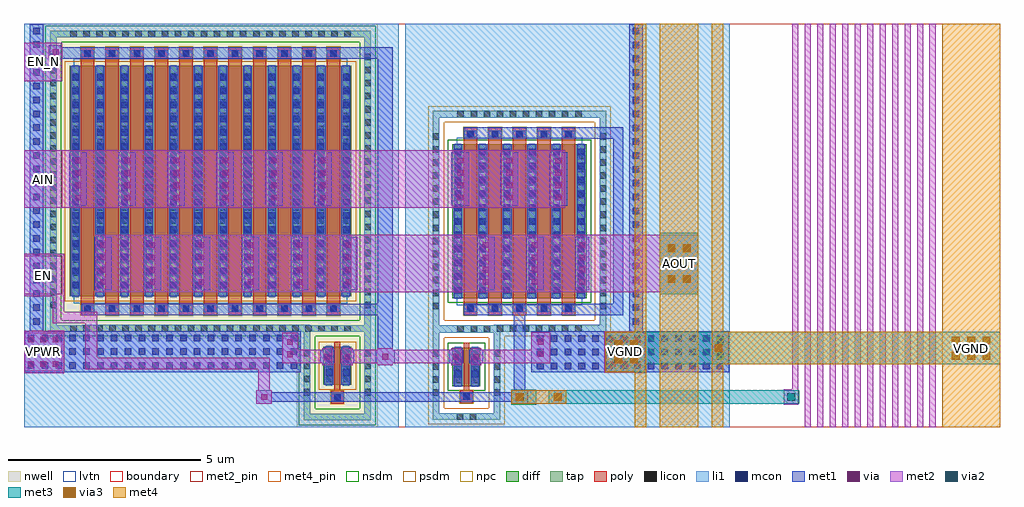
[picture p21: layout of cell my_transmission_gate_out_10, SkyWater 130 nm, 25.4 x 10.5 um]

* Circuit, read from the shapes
.subckt my_transmission_gate_out_10 AIN AOUT EN EN_N VGND VPWR
XM1 VGND EN EN_N VGND sky130_fd_pr__nfet_01v8 w=1 l=0.15
XM2 AOUT EN AIN VGND sky130_fd_pr__nfet_01v8_lvt w=4 l=0.35 m=5
XM3 AOUT EN_N AIN VPWR sky130_fd_pr__pfet_01v8_lvt w=6 l=0.35 m=11
XM4 EN_N EN VPWR VPWR sky130_fd_pr__pfet_01v8 w=1 l=0.15
.ends

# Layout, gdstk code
import gdstk
lib = gdstk.Library(unit=1e-6, precision=1e-09)
def R(c, l, rs):  # rectangles x0, y0, x1, y1
    for r in rs: c.add(gdstk.rectangle(r[:2], r[2:], *l))
def A(c, l, x, y, w, h, nx, ny, dx, dy):  # array of equal rectangles
    R(c, l, [(x+i*dx, y+j*dy, x+i*dx+w, y+j*dy+h) for i in range(nx) for j in range(ny)])
nwell = (64, 20)
diff = (65, 20)
tap = (65, 44)
poly = (66, 20)
licon = (66, 44)
li1 = (67, 20)
mcon = (67, 44)
met1 = (68, 20)
via = (68, 44)
met2_pin = (69, 16)
met2 = (69, 20)
via2 = (69, 44)
met3 = (70, 20)
via3 = (70, 44)
met4_pin = (71, 16)
met4 = (71, 20)
nsdm = (93, 44)
psdm = (94, 20)
npc = (95, 20)
lvtn = (125, 44)
boundary = (235, 4)

sky130_fd_pr__pfet_01v8_ = lib.new_cell('sky130_fd_pr__pfet_01v8_lvt_E3P74E#10tgo')
R(sky130_fd_pr__pfet_01v8_, nwell, [(-4.355,-4.095,4.355,4.095)])
R(sky130_fd_pr__pfet_01v8_, diff, [(-3.665,-3,3.665,3)])
R(sky130_fd_pr__pfet_01v8_, tap, [(-4.175,-3.915,4.175,-3.745), (-4.175,-3.745,-4.005,3.745), (4.005,-3.745,4.175,3.745), (-4.175,3.745,4.175,3.915)])
A(sky130_fd_pr__pfet_01v8_, poly, -3.375, -3.485, 0.35, 6.97, 11, 1, 0.64, 0)
A(sky130_fd_pr__pfet_01v8_, licon, -3.655, -3.915, 0.17, 0.17, 22, 2, 0.34, 7.66)
A(sky130_fd_pr__pfet_01v8_, licon, -3.285, -3.405, 0.17, 0.17, 11, 2, 0.64, 6.64)
A(sky130_fd_pr__pfet_01v8_, licon, -4.175, -3.315, 0.17, 0.17, 1, 20, 0, 0.34)
A(sky130_fd_pr__pfet_01v8_, licon, 4.005, -3.315, 0.17, 0.17, 1, 20, 0, 0.34)
A(sky130_fd_pr__pfet_01v8_, licon, -3.605, -2.805, 0.17, 0.17, 12, 17, 0.64, 0.34)
A(sky130_fd_pr__pfet_01v8_, li1, -3.375, -3.405, 0.35, 0.17, 11, 2, 0.64, 6.64)
A(sky130_fd_pr__pfet_01v8_, li1, -3.605, -3.02, 0.17, 6.04, 12, 1, 0.64, 0)
R(sky130_fd_pr__pfet_01v8_, li1, [(-4.175,-3.915,4.175,-3.745), (-4.175,-3.745,-4.005,3.745), (4.005,-3.745,4.175,3.745), (-4.175,3.745,4.175,3.915)])
A(sky130_fd_pr__pfet_01v8_, mcon, -3.285, -3.405, 0.17, 0.17, 11, 2, 0.64, 6.64)
A(sky130_fd_pr__pfet_01v8_, mcon, -3.605, -2.785, 0.17, 0.17, 12, 16, 0.64, 0.36)
A(sky130_fd_pr__pfet_01v8_, met1, -3.355, -3.435, 0.31, 0.23, 11, 2, 0.64, 6.64)
A(sky130_fd_pr__pfet_01v8_, met1, -3.635, -3, 0.23, 6, 12, 1, 0.64, 0)
R(sky130_fd_pr__pfet_01v8_, nsdm, [(-4.3,-4.04,4.3,-3.62), (-4.3,-3.62,-3.88,3.62), (3.88,-3.62,4.3,3.62), (-4.3,3.62,4.3,4.04)])
R(sky130_fd_pr__pfet_01v8_, psdm, [(-3.79,-3.125,3.79,3.125)])
A(sky130_fd_pr__pfet_01v8_, npc, -3.385, -3.505, 0.37, 0.37, 11, 2, 0.64, 6.64)
R(sky130_fd_pr__pfet_01v8_, lvtn, [(-3.555,-3.18,3.555,3.18)])
R(sky130_fd_pr__pfet_01v8_, boundary, [(-4.09,-3.83,4.09,3.83)])

c_sky130_fd_pr__pfet_01v8_ = lib.new_cell('sky130_fd_pr__pfet_01v8_L75DJ9#10tgo')
R(c_sky130_fd_pr__pfet_01v8_, nwell, [(-1.055,-1.42,1.055,1.42)])
R(c_sky130_fd_pr__pfet_01v8_, diff, [(-0.365,-0.32,0.365,0.68)])
R(c_sky130_fd_pr__pfet_01v8_, tap, [(-0.875,-1.24,0.875,-1.07), (-0.875,-1.07,-0.705,1.07), (0.705,-1.07,0.875,1.07), (-0.875,1.07,0.875,1.24)])
R(c_sky130_fd_pr__pfet_01v8_, poly, [(-0.165,-0.805,0.165,-0.475), (-0.075,-0.475,0.075,0.81)])
A(c_sky130_fd_pr__pfet_01v8_, licon, -0.875, -0.595, 0.17, 0.17, 1, 4, 0, 0.34)
A(c_sky130_fd_pr__pfet_01v8_, licon, 0.705, -0.595, 0.17, 0.17, 1, 4, 0, 0.34)
A(c_sky130_fd_pr__pfet_01v8_, licon, -0.305, -0.245, 0.17, 0.17, 1, 3, 0, 0.34)
A(c_sky130_fd_pr__pfet_01v8_, licon, 0.135, -0.245, 0.17, 0.17, 1, 3, 0, 0.34)
R(c_sky130_fd_pr__pfet_01v8_, licon, [(-0.085,-0.725,0.085,-0.555)])
R(c_sky130_fd_pr__pfet_01v8_, li1, [(-0.875,-1.24,0.875,-1.07), (-0.875,-1.07,-0.705,1.07), (0.705,-1.07,0.875,1.07), (-0.165,-0.725,0.165,-0.555), (-0.305,-0.34,-0.135,0.7), (0.135,-0.34,0.305,0.7), (-0.875,1.07,0.875,1.24)])
R(c_sky130_fd_pr__pfet_01v8_, mcon, [(-0.085,-0.725,0.085,-0.555), (-0.305,-0.085,-0.135,0.085), (0.135,-0.085,0.305,0.085), (-0.305,0.275,-0.135,0.445), (0.135,0.275,0.305,0.445)])
R(c_sky130_fd_pr__pfet_01v8_, met1, [(-0.145,-0.755,0.145,-0.525), (-0.335,-0.32,-0.105,0.68), (0.105,-0.32,0.335,0.68)])
R(c_sky130_fd_pr__pfet_01v8_, nsdm, [(-1,-1.365,1,-0.945), (-1,-0.945,-0.58,0.945), (0.58,-0.945,1,0.945), (-1,0.945,1,1.365)])
R(c_sky130_fd_pr__pfet_01v8_, psdm, [(-0.49,-0.445,0.49,0.805)])
R(c_sky130_fd_pr__pfet_01v8_, npc, [(-0.185,-0.825,0.185,-0.455)])
R(c_sky130_fd_pr__pfet_01v8_, boundary, [(-0.79,-1.155,0.79,1.155)])

sky130_fd_pr__nfet_01v8_ = lib.new_cell('sky130_fd_pr__nfet_01v8_lvt_X62NDW#10tgo')
R(sky130_fd_pr__nfet_01v8_, diff, [(-1.745,-2,1.745,2)])
R(sky130_fd_pr__nfet_01v8_, tap, [(-2.255,-2.87,2.255,-2.7), (-2.255,-2.7,-2.085,2.7), (2.085,-2.7,2.255,2.7), (-2.255,2.7,2.255,2.87)])
A(sky130_fd_pr__nfet_01v8_, poly, -1.455, -2.44, 0.35, 4.88, 5, 1, 0.64, 0)
A(sky130_fd_pr__nfet_01v8_, licon, -1.615, -2.87, 0.17, 0.17, 10, 2, 0.34, 5.57)
A(sky130_fd_pr__nfet_01v8_, licon, -1.365, -2.36, 0.17, 0.17, 5, 2, 0.64, 4.55)
A(sky130_fd_pr__nfet_01v8_, licon, -2.255, -2.295, 0.17, 0.17, 1, 14, 0, 0.34)
A(sky130_fd_pr__nfet_01v8_, licon, 2.085, -2.295, 0.17, 0.17, 1, 14, 0, 0.34)
A(sky130_fd_pr__nfet_01v8_, licon, -1.685, -1.785, 0.17, 0.17, 6, 11, 0.64, 0.34)
A(sky130_fd_pr__nfet_01v8_, li1, -1.455, -2.36, 0.35, 0.17, 5, 2, 0.64, 4.55)
A(sky130_fd_pr__nfet_01v8_, li1, -1.685, -2.02, 0.17, 4.04, 6, 1, 0.64, 0)
R(sky130_fd_pr__nfet_01v8_, li1, [(-2.255,-2.87,2.255,-2.7), (-2.255,-2.7,-2.085,2.7), (2.085,-2.7,2.255,2.7), (-2.255,2.7,2.255,2.87)])
A(sky130_fd_pr__nfet_01v8_, mcon, -1.365, -2.36, 0.17, 0.17, 5, 2, 0.64, 4.55)
A(sky130_fd_pr__nfet_01v8_, mcon, -1.685, -1.885, 0.17, 0.17, 6, 11, 0.64, 0.36)
A(sky130_fd_pr__nfet_01v8_, met1, -1.435, -2.39, 0.31, 0.23, 5, 2, 0.64, 4.55)
A(sky130_fd_pr__nfet_01v8_, met1, -1.715, -2, 0.23, 4, 6, 1, 0.64, 0)
R(sky130_fd_pr__nfet_01v8_, nsdm, [(-1.87,-2.125,1.87,2.125)])
R(sky130_fd_pr__nfet_01v8_, psdm, [(-2.38,-2.995,2.38,-2.575), (-2.38,-2.575,-1.96,2.575), (1.96,-2.575,2.38,2.575), (-2.38,2.575,2.38,2.995)])
A(sky130_fd_pr__nfet_01v8_, npc, -1.465, -2.46, 0.37, 0.37, 5, 2, 0.64, 4.55)
R(sky130_fd_pr__nfet_01v8_, lvtn, [(-1.635,-2.18,1.635,2.18)])
R(sky130_fd_pr__nfet_01v8_, boundary, [(-2.17,-2.785,2.17,2.785)])

c_sky130_fd_pr__nfet_01v8_ = lib.new_cell('sky130_fd_pr__nfet_01v8_9BJ5NV#10tgo')
R(c_sky130_fd_pr__nfet_01v8_, diff, [(-0.365,-0.345,0.365,0.655)])
R(c_sky130_fd_pr__nfet_01v8_, tap, [(-0.875,-1.215,0.875,-1.045), (-0.875,-1.045,-0.705,1.045), (0.705,-1.045,0.875,1.045), (-0.875,1.045,0.875,1.215)])
R(c_sky130_fd_pr__nfet_01v8_, poly, [(-0.165,-0.785,0.165,-0.455), (-0.075,-0.455,0.075,0.785)])
A(c_sky130_fd_pr__nfet_01v8_, licon, -0.875, -0.595, 0.17, 0.17, 1, 4, 0, 0.34)
A(c_sky130_fd_pr__nfet_01v8_, licon, 0.705, -0.595, 0.17, 0.17, 1, 4, 0, 0.34)
A(c_sky130_fd_pr__nfet_01v8_, licon, -0.305, -0.27, 0.17, 0.17, 1, 3, 0, 0.34)
A(c_sky130_fd_pr__nfet_01v8_, licon, 0.135, -0.27, 0.17, 0.17, 1, 3, 0, 0.34)
R(c_sky130_fd_pr__nfet_01v8_, licon, [(-0.255,-1.215,-0.085,-1.045), (0.085,-1.215,0.255,-1.045), (-0.085,-0.705,0.085,-0.535)])
R(c_sky130_fd_pr__nfet_01v8_, li1, [(-0.875,-1.215,0.875,-1.045), (-0.875,-1.045,-0.705,1.045), (0.705,-1.045,0.875,1.045), (-0.165,-0.705,0.165,-0.535), (-0.305,-0.365,-0.135,0.675), (0.135,-0.365,0.305,0.675), (-0.875,1.045,0.875,1.215)])
R(c_sky130_fd_pr__nfet_01v8_, mcon, [(-0.085,-0.705,0.085,-0.535), (-0.305,-0.11,-0.135,0.06), (0.135,-0.11,0.305,0.06), (-0.305,0.25,-0.135,0.42), (0.135,0.25,0.305,0.42)])
R(c_sky130_fd_pr__nfet_01v8_, met1, [(-0.145,-0.735,0.145,-0.505), (-0.335,-0.345,-0.105,0.655), (0.105,-0.345,0.335,0.655)])
R(c_sky130_fd_pr__nfet_01v8_, nsdm, [(-0.49,-0.47,0.49,0.78)])
R(c_sky130_fd_pr__nfet_01v8_, psdm, [(-1,-1.34,1,-0.92), (-1,-0.92,-0.58,0.92), (0.58,-0.92,1,0.92), (-1,0.92,1,1.34)])
R(c_sky130_fd_pr__nfet_01v8_, npc, [(-0.185,-0.805,0.185,-0.435)])
R(c_sky130_fd_pr__nfet_01v8_, boundary, [(-0.79,-1.13,0.79,1.13)])

my_transmission_gate_out = lib.new_cell('my_transmission_gate_out_10')
R(my_transmission_gate_out, li1, [(0,0,9.75,0.34), (9.925,0,18.365,0.365), (0,0.34,7.45,2.66), (8.875,0.34,9.75,10.165), (9.925,0.365,10.8,8.06), (12.225,0.365,18.365,2.665), (0,2.66,0.85,10.165), (1.5,2.66,7.45,2.665), (14.99,2.665,18.365,8.06), (9.925,8.06,18.365,10.5), (0,10.165,9.75,10.5)])
A(my_transmission_gate_out, mcon, 13.35, 1.51, 0.17, 0.17, 14, 3, 0.36, 0.36)
A(my_transmission_gate_out, mcon, 0.1, 1.52, 0.17, 0.17, 20, 3, 0.36, 0.36)
A(my_transmission_gate_out, mcon, 15.84, 2.665, 0.17, 0.17, 1, 22, 0, 0.36)
A(my_transmission_gate_out, mcon, 0.24, 2.67, 0.17, 0.17, 1, 22, 0, 0.36)
A(my_transmission_gate_out, met1, 11.19, 3.41, 0.21, 2.35, 3, 1, 1.28, 0)
A(my_transmission_gate_out, met1, 11.83, 3.41, 0.21, 0.15, 3, 1, 1.28, 0)
A(my_transmission_gate_out, met1, 1.225, 3.445, 0.21, 2.315, 6, 1, 1.28, 0)
A(my_transmission_gate_out, met1, 1.865, 3.445, 0.21, 0.115, 6, 1, 1.28, 0)
A(my_transmission_gate_out, met1, 3.115, 3.56, 0.46, 1.4, 5, 1, 1.275, 0)
A(my_transmission_gate_out, met1, 1.865, 4.96, 0.21, 4.405, 6, 1, 1.28, 0)
A(my_transmission_gate_out, met1, 11.83, 4.96, 0.21, 2.35, 3, 1, 1.28, 0)
A(my_transmission_gate_out, met1, 1.175, 5.76, 0.46, 1.4, 6, 1, 1.275, 0)
A(my_transmission_gate_out, met1, 11.125, 5.76, 0.46, 1.4, 3, 1, 1.275, 0)
A(my_transmission_gate_out, met1, 1.225, 7.16, 0.21, 2.205, 6, 1, 1.28, 0)
A(my_transmission_gate_out, met1, 11.19, 7.16, 0.21, 0.15, 3, 1, 1.28, 0)
R(my_transmission_gate_out, met1, [(12.695,0.605,13.105,0.66), (6.05,0.61,6.45,0.66), (6.05,0.66,13.105,0.91), (6.05,0.91,6.45,0.96), (12.695,0.91,13.105,0.965), (12.75,0.965,13.05,2.91), (11.195,1.115,11.395,1.66), (11.635,1.115,11.835,1.66), (7.835,1.145,8.035,1.66), (8.275,1.145,8.475,1.66), (0.015,1.43,7.2,2.495), (13.2,1.43,18.35,2.495), (9.2,1.61,9.6,1.66), (7.715,1.66,8.075,2.01), (8.24,1.66,8.6,2.01), (9.15,1.66,9.65,2.01), (11.065,1.66,11.425,2.01), (11.59,1.66,11.95,2.01), (7.835,2.01,8.035,2.055), (8.275,2.01,8.475,2.055), (9.2,2.01,9.6,2.91), (11.195,2.01,11.395,2.025), (11.635,2.01,11.835,2.025), (0.15,2.495,0.5,10.485), (15.75,2.495,16.1,10.485), (1.5,2.91,9.6,3.21), (11.45,2.91,15.6,3.21), (9.2,3.21,9.6,9.585), (15.33,3.21,15.6,7.51), (1.825,3.56,2.285,4.96), (11.79,3.56,12.25,4.96), (13.065,3.56,13.525,4.96), (14.35,3.56,14.71,4.96), (11.45,7.51,15.6,7.81), (0.65,9.585,9.6,9.885), (0.65,9.885,1,9.935)])
A(my_transmission_gate_out, via, 15.255, 1.565, 0.15, 0.15, 3, 3, 0.32, 0.32)
A(my_transmission_gate_out, via, 0.105, 1.57, 0.15, 0.15, 3, 3, 0.32, 0.32)
A(my_transmission_gate_out, via, 1.98, 3.705, 0.15, 0.15, 1, 4, 0, 0.32)
A(my_transmission_gate_out, via, 3.27, 3.705, 0.15, 0.15, 5, 4, 1.275, 0.32)
A(my_transmission_gate_out, via, 11.945, 3.705, 0.15, 0.15, 1, 4, 0, 0.32)
A(my_transmission_gate_out, via, 13.22, 3.705, 0.15, 0.15, 1, 4, 0, 0.32)
A(my_transmission_gate_out, via, 14.455, 3.705, 0.15, 0.15, 1, 4, 0, 0.32)
A(my_transmission_gate_out, via, 1.33, 5.905, 0.15, 0.15, 6, 4, 1.275, 0.32)
A(my_transmission_gate_out, via, 11.28, 5.905, 0.15, 0.15, 3, 4, 1.275, 0.32)
R(my_transmission_gate_out, via, [(6.175,0.71,6.325,0.86), (12.825,0.71,12.975,0.86), (7.82,1.76,7.97,1.91), (8.345,1.76,8.495,1.91), (9.325,1.76,9.475,1.91), (11.17,1.76,11.32,1.91), (11.695,1.76,11.845,1.91), (6.85,1.825,7,1.975), (18.04,1.825,18.19,1.975), (13.375,1.83,13.525,1.98), (6.85,2.145,7,2.295), (18.04,2.145,18.19,2.295), (13.375,2.15,13.525,2.3), (0.75,9.685,0.9,9.835)])
R(my_transmission_gate_out, met2_pin, [(15.15,1.46,16.15,2.46), (0,1.465,1,2.465), (0,3.46,1,4.46), (16.55,3.51,17.55,5.01), (0,5.71,1,7.21), (0,9.01,1,10.01)])
A(my_transmission_gate_out, met2, 20.315, 0, 0.165, 10.5, 11, 1, 0.325, 0)
R(my_transmission_gate_out, met2, [(19.775,0.585,20.155,0.985), (12.68,0.59,13.12,0.98), (6.05,0.61,6.45,0.96), (6.1,0.96,6.4,1.51), (19.99,0.985,20.155,10.5), (0,1.41,1.05,2.51), (15.1,1.42,16.2,2.5), (1.6,1.51,6.4,1.81), (7.765,1.61,8.025,1.66), (8.29,1.61,8.55,1.66), (9.2,1.61,9.6,1.66), (11.115,1.61,11.375,1.66), (11.64,1.61,11.9,1.66), (17.9,1.635,18.335,2.485), (6.715,1.66,8.025,2.01), (8.25,1.66,11.4,2.01), (11.625,1.66,13.7,2.01), (1.6,1.81,1.9,2.71), (6.715,2.01,7.135,2.46), (7.765,2.01,8.025,2.06), (8.29,2.01,8.55,2.06), (9.2,2.01,9.6,2.06), (11.115,2.01,11.375,2.06), (11.64,2.01,11.9,2.06), (13.2,2.01,13.7,2.47), (0.75,2.71,1.9,3.01), (0.75,3.01,1.05,3.41), (0,3.41,1.05,4.51), (1.85,3.51,17.55,5.01), (0,5.71,14.085,7.21), (0,9.01,1,10.01)])
A(my_transmission_gate_out, via2, 16.75, 3.76, 0.2, 0.2, 1, 3, 0, 0.4)
A(my_transmission_gate_out, via2, 17.15, 3.76, 0.2, 0.2, 1, 3, 0, 0.4)
R(my_transmission_gate_out, via2, [(12.8,0.685,13,0.885), (19.865,0.685,20.065,0.885), (15.365,1.66,15.565,1.86), (15.765,1.66,15.965,1.86), (18.015,1.76,18.215,1.96), (15.365,2.06,15.565,2.26), (15.765,2.06,15.965,2.26), (18.015,2.16,18.215,2.36)])
R(my_transmission_gate_out, met3, [(12.68,0.59,13.335,0.98), (13.65,0.61,20.175,0.96), (15.125,1.435,16.2,1.635), (15.125,1.635,25.4,2.485), (16.55,3.46,17.55,5.06)])
A(my_transmission_gate_out, via3, 24.15, 1.76, 0.2, 0.2, 3, 2, 0.4, 0.4)
A(my_transmission_gate_out, via3, 16.75, 3.76, 0.2, 0.2, 1, 3, 0, 0.4)
A(my_transmission_gate_out, via3, 17.15, 3.76, 0.2, 0.2, 1, 3, 0, 0.4)
R(my_transmission_gate_out, via3, [(12.795,0.685,12.995,0.885), (13.79,0.685,13.99,0.885), (15.375,1.66,15.575,1.86), (15.775,1.66,15.975,1.86), (17.97,1.96,18.17,2.16), (15.375,2.06,15.575,2.26), (15.775,2.06,15.975,2.26)])
R(my_transmission_gate_out, met4_pin, [(23.9,1.635,25.4,2.485)])
R(my_transmission_gate_out, met4, [(15.9,0,16.2,1.435), (16.55,0,17.55,10.5), (17.9,0,18.2,1.635), (23.9,0,25.4,1.635), (12.68,0.61,14.11,0.96), (15.125,1.435,16.2,2.485), (17.9,1.635,25.4,2.485), (15.9,2.485,16.2,10.5), (17.9,2.485,18.2,10.5), (23.9,2.485,25.4,10.5)])
R(my_transmission_gate_out, boundary, [(0,0,25.4,10.5)])
my_transmission_gate_out.add(gdstk.Reference(sky130_fd_pr__pfet_01v8_, (4.855,6.405)))
my_transmission_gate_out.add(gdstk.Reference(c_sky130_fd_pr__pfet_01v8_, (8.155,1.42)))
my_transmission_gate_out.add(gdstk.Reference(sky130_fd_pr__nfet_01v8_, (12.895,5.36)))
my_transmission_gate_out.add(gdstk.Reference(c_sky130_fd_pr__nfet_01v8_, (11.515,1.415)))
my_transmission_gate_out.add(gdstk.Label('VGND', (24.65,2.06), layer=71, texttype=5))
my_transmission_gate_out.add(gdstk.Label('VGND', (15.65,1.96), layer=69, texttype=5))
my_transmission_gate_out.add(gdstk.Label('VPWR', (0.5,1.965), layer=69, texttype=5))
my_transmission_gate_out.add(gdstk.Label('AOUT', (17.05,4.26), layer=69, texttype=5))
my_transmission_gate_out.add(gdstk.Label('AIN', (0.5,6.46), layer=69, texttype=5))
my_transmission_gate_out.add(gdstk.Label('EN_N', (0.5,9.51), layer=69, texttype=5))
my_transmission_gate_out.add(gdstk.Label('EN', (0.5,3.96), layer=69, texttype=5))

lib.write_gds('my_transmission_gate_out_10.gds')
